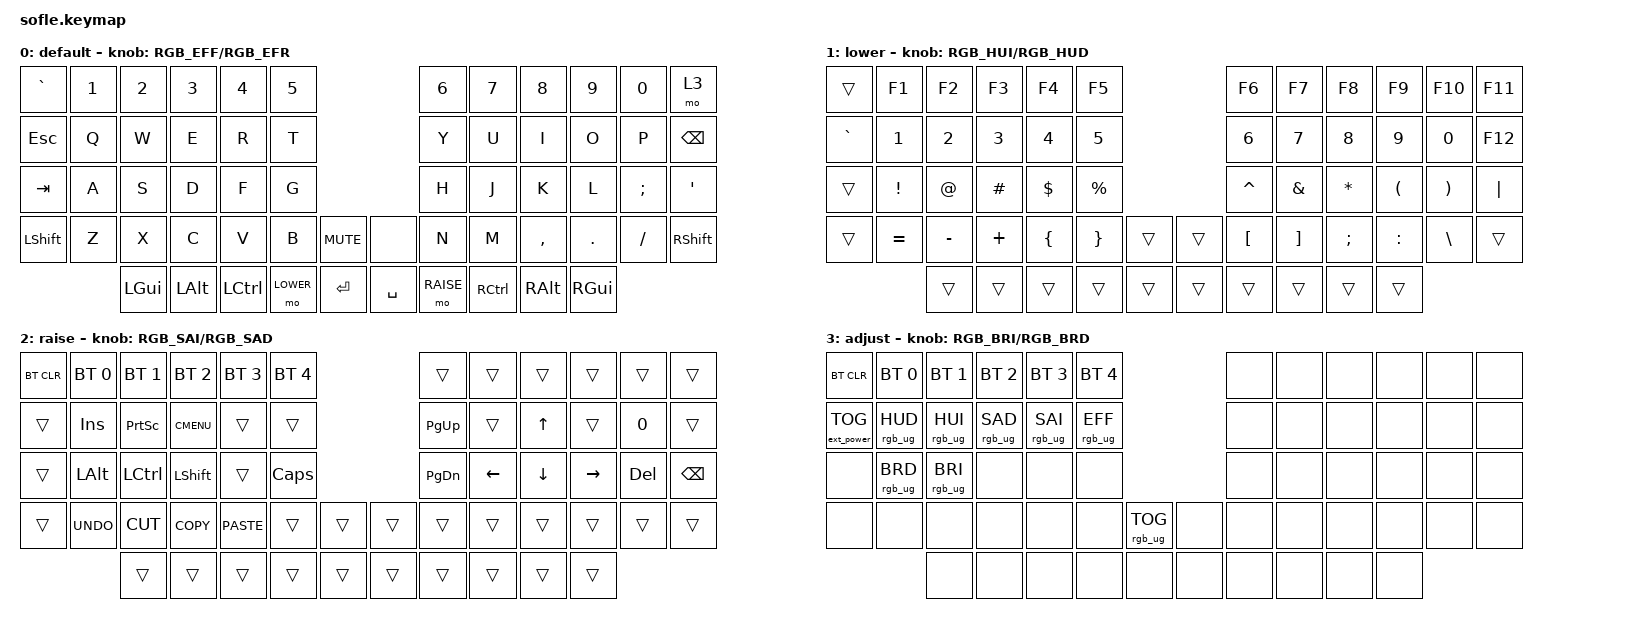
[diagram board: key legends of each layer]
/*
 * Copyright (c) 2020 The ZMK Contributors
 *
 * SPDX-License-Identifier: MIT
 */

#include <behaviors.dtsi>
#include <dt-bindings/zmk/bt.h>
#include <dt-bindings/zmk/ext_power.h>
#include <dt-bindings/zmk/keys.h>
#include <dt-bindings/zmk/rgb.h>

#define BASE 0
#define LOWER 1
#define RAISE 2
#define ADJUST 3

/ {
    conditional_layers {
        compatible = "zmk,conditional-layers";
        adjust_layer {
            if-layers = <LOWER RAISE>;
            then-layer = <ADJUST>;
        };
    };

    behaviors {
        // Этот бехайвор позволяет крутилке управлять RGB
        // Вы сможете выбирать параметры RGB_UG в редакторе
        rgb_rot: rgb_rotate {
            compatible = "zmk,behavior-sensor-rotate-var";
            #sensor-binding-cells = <2>;
            bindings = <&rgb_ug>, <&rgb_ug>;
        };
    };

    keymap {
        compatible = "zmk,keymap";

        default_layer {
            display-name = "default";
            bindings = <
&kp GRAVE  &kp N1  &kp N2    &kp N3    &kp N4     &kp N5                                         &kp N6     &kp N7     &kp N8     &kp N9    &kp N0    &mo 3
&kp ESC    &kp Q   &kp W     &kp E     &kp R      &kp T                                          &kp Y      &kp U      &kp I      &kp O     &kp P     &kp BSPC
&kp TAB    &kp A   &kp S     &kp D     &kp F      &kp G                                          &kp H      &kp J      &kp K      &kp L     &kp SEMI  &kp SQT
&kp LSHFT  &kp Z   &kp X     &kp C     &kp V      &kp B      &kp C_MUTE         &none            &kp N      &kp M      &kp COMMA  &kp DOT   &kp FSLH  &kp RSHFT
                   &kp LGUI  &kp LALT  &kp LCTRL  &mo LOWER  &kp RET            &kp SPACE        &mo RAISE  &kp RCTRL  &kp RALT   &kp RGUI
            >;

            // ВАЖНО: Только один биндинг, так как физически один энкодер
            sensor-bindings = <&rgb_rot RGB_EFF RGB_EFR>;
        };

        lower_layer {
            display-name = "lower";
            bindings = <
&trans     &kp F1     &kp F2     &kp F3    &kp F4    &kp F5                       &kp F6     &kp F7    &kp F8     &kp F9     &kp F10   &kp F11
&kp GRAVE  &kp N1     &kp N2     &kp N3    &kp N4    &kp N5                       &kp N6     &kp N7    &kp N8     &kp N9     &kp N0    &kp F12
&trans     &kp EXCL   &kp AT     &kp HASH  &kp DLLR  &kp PRCNT                    &kp CARET  &kp AMPS  &kp ASTRK  &kp LPAR   &kp RPAR  &kp PIPE
&trans     &kp EQUAL  &kp MINUS  &kp PLUS  &kp LBRC  &kp RBRC   &trans    &trans  &kp LBKT   &kp RBKT  &kp SEMI   &kp COLON  &kp BSLH  &trans
                      &trans     &trans    &trans    &trans     &trans    &trans  &trans     &trans    &trans     &trans
            >;

            sensor-bindings = <&rgb_rot RGB_HUI RGB_HUD>;
        };

        raise_layer {
            display-name = "raise";
            bindings = <
&bt BT_CLR  &bt BT_SEL 0  &bt BT_SEL 1  &bt BT_SEL 2  &bt BT_SEL 3  &bt BT_SEL 4                    &trans     &trans    &trans    &trans     &trans   &trans
&trans      &kp INS       &kp PSCRN     &kp K_CMENU   &trans        &trans                          &kp PG_UP  &trans    &kp UP    &trans     &kp N0   &trans
&trans      &kp LALT      &kp LCTRL     &kp LSHFT     &trans        &kp CLCK                        &kp PG_DN  &kp LEFT  &kp DOWN  &kp RIGHT  &kp DEL  &kp BSPC
&trans      &kp K_UNDO    &kp K_CUT     &kp K_COPY    &kp K_PASTE   &trans        &trans    &trans  &trans     &trans    &trans    &trans     &trans   &trans
                          &trans        &trans        &trans        &trans        &trans    &trans  &trans     &trans    &trans    &trans
            >;

            sensor-bindings = <&rgb_rot RGB_SAI RGB_SAD>;
        };

        adjust_layer {
            display-name = "adjust";
            bindings = <
&bt BT_CLR         &bt BT_SEL 0     &bt BT_SEL 1     &bt BT_SEL 2     &bt BT_SEL 3     &bt BT_SEL 4                               &none  &none  &none  &none  &none  &none
&ext_power EP_TOG  &rgb_ug RGB_HUD  &rgb_ug RGB_HUI  &rgb_ug RGB_SAD  &rgb_ug RGB_SAI  &rgb_ug RGB_EFF                            &none  &none  &none  &none  &none  &none
&none              &rgb_ug RGB_BRD  &rgb_ug RGB_BRI  &none            &none            &none                                      &none  &none  &none  &none  &none  &none
&none              &none            &none            &none            &none            &none            &rgb_ug RGB_TOG    &none  &none  &none  &none  &none  &none  &none
                                    &none            &none            &none            &none            &none              &none  &none  &none  &none  &none
            >;

            sensor-bindings = <&rgb_rot RGB_BRI RGB_BRD>;
        };
    };
};
